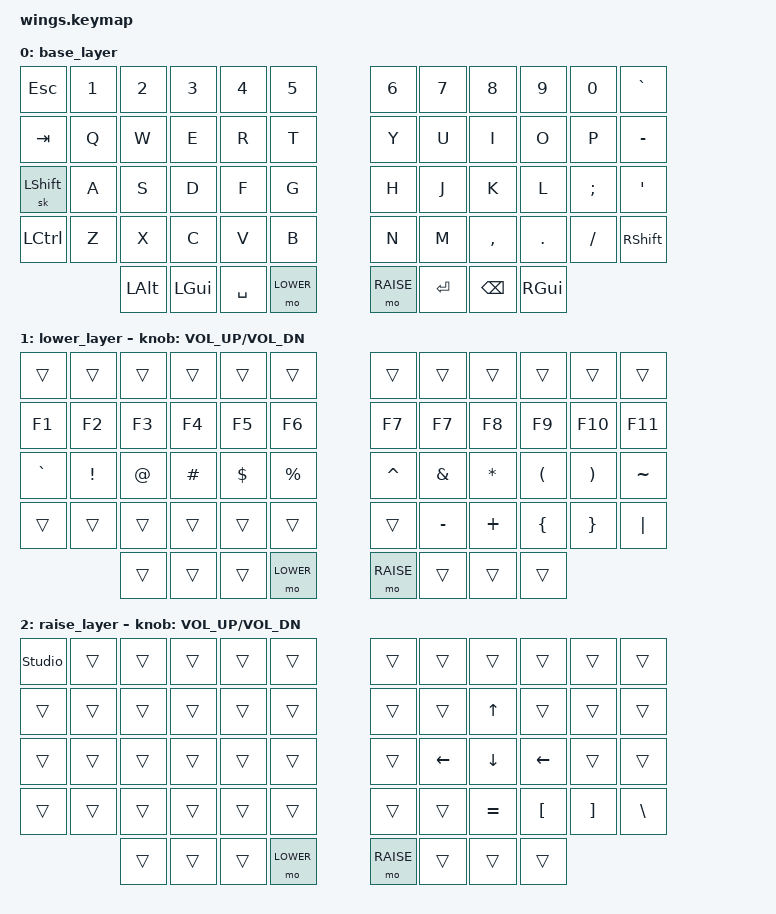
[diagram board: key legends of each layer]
/*
 * Copyright (c) 2021 The ZMK Contributors
 *
 * SPDX-License-Identifier: MIT
 */

#define DEFAULT 0
#define LOWER 1
#define RAISE 2

#include <behaviors.dtsi>
#include <dt-bindings/zmk/keys.h>

/ {

    keymap {
        compatible = "zmk,keymap";

        // This is a sample keymap intended to be replaced with your own
        base_layer {
            bindings = <
            // ------------------------------------------------------------------------------------------------------------
            // |  ESC  |  1  |  2  |  3   |  4   |  5   |                   |  6   |  7    |  8    |  9   |   0   |   `   |
            // |  TAB  |  Q  |  W  |  E   |  R   |  T   |                   |  Y   |  U    |  I    |  O   |   P   |   -   |
            // | SHIFT |  A  |  S  |  D   |  F   |  G   |                   |  H   |  J    |  K    |  L   |   ;   |   '   |
            // |  CTRL |  Z  |  X  |  C   |  V   |  B   |                   |  N   |  M    |  ,    |  .   |   /   | SHIFT |
            //               | ALT | GUI  | SPACE| LOWER|                   | RAISE| ENTER | BSPC  | GUI  |
                &kp ESC    &kp N1     &kp N2     &kp N3     &kp N4      &kp N5               &kp N6     &kp N7     &kp N8     &kp N9     &kp N0     &kp GRAVE
                &kp TAB    &kp Q      &kp W      &kp E      &kp R       &kp T                &kp Y      &kp U      &kp I      &kp O      &kp P      &kp MINUS
                &sk LSHIFT &kp A      &kp S      &kp D      &kp F       &kp G                &kp H      &kp J      &kp K      &kp L      &kp SEMI   &kp SQT
                &kp LCTRL  &kp Z      &kp X      &kp C      &kp V       &kp B                &kp N      &kp M      &kp COMMA  &kp DOT    &kp FSLH   &kp RSHIFT
                                      &kp LALT  &kp LGUI    &kp SPACE   &mo LOWER            &mo RAISE  &kp ENTER  &kp BSPC   &kp RGUI
            >;
        };

        lower_layer {
            // ------------------------------------------------------------------------------------------------------------
            // |       |     |     |      |      |      |                   |      |       |       |      |       |       |
            // |  F1   |  F2 |  F3 |  F4  |  F5  |  F6  |                   |  F7  |  F8   |  F9   |  F10 |  F11  |  F12  |
            // |   `   |  !  |  @  |  #   |  $   |  %   |                   |  ^   |  &    |  *    |  (   |   )   |   ~   |
            // |       |     |     |      |      |      |                   |      |  -    |  +    |  {   |   }   |  "|"  |
            //               |     |      |      | LOWER|                   | RAISE|       |       |      |
            bindings = <
                &trans     &trans     &trans     &trans     &trans      &trans               &trans     &trans     &trans     &trans     &trans     &trans
                &kp F1     &kp F2     &kp F3     &kp F4     &kp F5      &kp F6               &kp F7     &kp F7     &kp F8     &kp F9     &kp F10    &kp F11
                &kp GRAVE  &kp EXCL   &kp AT     &kp HASH   &kp DOLLAR  &kp PRCNT            &kp CARET  &kp AMPS   &kp ASTRK  &kp LPAR   &kp RPAR   &kp TILDE
                &trans     &trans     &trans     &trans     &trans      &trans               &trans     &kp MINUS  &kp PLUS   &kp LBRC   &kp RBRC   &kp PIPE
                                      &trans     &trans     &trans      &mo LOWER            &mo RAISE  &trans     &trans     &trans
            >;

            sensor-bindings = <&inc_dec_kp C_VOL_UP C_VOL_DN>;
        };

        raise_layer {
            // ------------------------------------------------------------------------------------------------------------
            // | studio|     |     |      |      |      |                   |      |       |       |      |       |       |
            // |       |     |     |      |      |      |                   |      |       |   ^   |      |       |       |
            // |       |     |     |      |      |      |                   |      |   <-  |   v   |  ->  |       |       |
            // |       |     |     |      |      |      |        |  |       |      |       |   =   |  [   |   ]   |   \   |
            //               |     |      |      | LOWER|                   | RAISE|       |       |      |
            bindings = <
                &studio_unlock &trans &trans     &trans     &trans      &trans               &trans     &trans     &trans     &trans     &trans     &trans
                &trans     &trans     &trans     &trans     &trans      &trans               &trans     &trans     &kp UP     &trans     &trans     &trans
                &trans     &trans     &trans     &trans     &trans      &trans               &trans     &kp LEFT   &kp DOWN   &kp LEFT   &trans     &trans
                &trans     &trans     &trans     &trans     &trans      &trans               &trans     &trans     &kp EQUAL  &kp LBKT   &kp RBKT   &kp BSLH
                                      &trans     &trans     &trans      &mo LOWER            &mo RAISE  &trans     &trans     &trans
            >;

            sensor-bindings = <&inc_dec_kp C_VOL_UP C_VOL_DN>;
        };

    };
};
